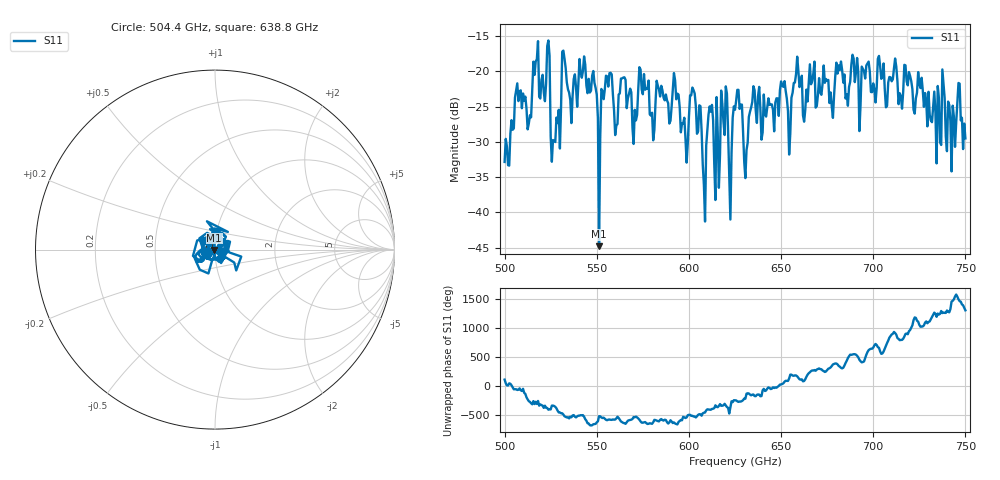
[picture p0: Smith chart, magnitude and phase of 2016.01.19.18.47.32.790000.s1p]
!Created with skrf (http://scikit-rf.org).
# GHz S RI R 50.0
!freq ReS11 ImS11
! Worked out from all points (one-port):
!   401 points, 500 GHz to 750 GHz, reference 50 ohm
!   lowest |S11| = -44.8 dB at 551.2 GHz (marker M1), VSWR 1.01, Z = 49.5 - j0.237 ohm
!   |S11| at or under -10 dB: start of sweep to end of sweep
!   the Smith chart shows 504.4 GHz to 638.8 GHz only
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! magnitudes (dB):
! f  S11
! 500 GHz  -32.8
! 506.9 GHz  -21.7
! 513.1 GHz  -27.4
! 516.9 GHz  -18.6
! 523.1 GHz  -16.4
! 526.2 GHz  -29.7
! 531.2 GHz  -17.2
! 548.8 GHz  -21.6
! 551.2 GHz  -44.8
! 556.2 GHz  -22.2
! 560 GHz  -29.0
! 562.5 GHz  -23.1
! 593.8 GHz  -23.2
! 598.1 GHz  -29.5
! 602.5 GHz  -22.6
! 608.1 GHz  -36.1
! 611.9 GHz  -25.7
! 615 GHz  -23.6
! 619.4 GHz  -29.0
! 622.5 GHz  -41.0
! 625 GHz  -25.4
! 630.6 GHz  -35.1
! 634.4 GHz  -24.3
! 656.2 GHz  -23.0
! 687.5 GHz  -21.5
! 718.8 GHz  -22.0
! 746.9 GHz  -21.7
! 750 GHz  -29.5
